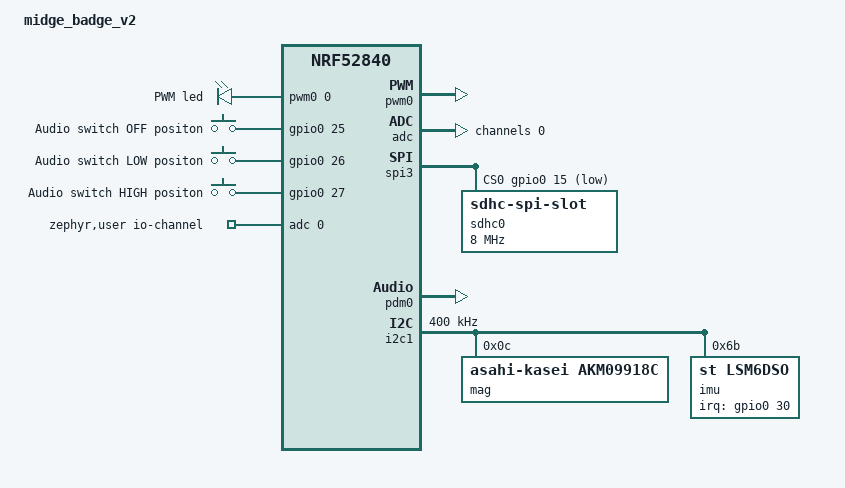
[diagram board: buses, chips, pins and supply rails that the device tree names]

/dts-v1/;
#include <nordic/nrf52840_qfaa.dtsi>
#include "midge_badge_v2-pinctrl.dtsi"
#include <zephyr/dt-bindings/input/input-event-codes.h>
#include <zephyr/dt-bindings/sensor/lsm6dso.h>
/**
 * LED_IND PO.03 pin 19
 * SCL     PO.02 pin 15
 * SDA     PO.00 pin 13
 * INT1    PO.30 pin 11
 * CD      PO.09 pin 25
 * SW      PO.11 pin 27
 * CS      PO.15 pin 25
 * MOSI    PO.16 pin 34
 * CLK     PO.17 pin 35
 * MISO    PO.18 pin 38
 * BATSEN  PO.05 pin 21
 * MICDOUT PO.13 pin 31
 * MICCLK  PO.14 pin 32
 * SW2OFF  PO.25 pin 6
 * SW2LOW  PO.26 pin 7
 * SW2HIGH PO.27 pin 8
 */


/ {
	model = "midge_badge_v2";
	compatible = "others,midge-badge-v2";

	chosen {
		/*zephyr,console = &uart0;
		zephyr,shell-uart = &uart0;
		zephyr,uart-mcumgr = &uart0;
		zephyr,bt-mon-uart = &uart0;
		zephyr,bt-c2h-uart = &uart0;*/
		zephyr,sram = &sram0;
		zephyr,flash = &flash0;
		zephyr,code-partition = &slot0_partition;
	};

	/*leds {
		compatible = "gpio-leds";

		led0: led_0 {
			gpios = <&gpio0 3 GPIO_ACTIVE_HIGH>;
			label = "Status led";
		};
	};*/

	pwm_leds {
		compatible = "pwm-leds";

		led0: led_0 {
			pwms = <&pwm0 0 PWM_MSEC(20) PWM_POLARITY_INVERTED>;
			label = "PWM led";
		};
	};

	switch_pos {
		compatible= "gpio-keys";

		sw_audio_off: sw_0{
			gpios = <&gpio0 25 (GPIO_PULL_DOWN | GPIO_ACTIVE_HIGH)>;
			label = "Audio switch OFF positon";
		};
		sw_audio_low: sw_1{
			gpios = <&gpio0 26 (GPIO_PULL_DOWN | GPIO_ACTIVE_HIGH)>;
			label = "Audio switch LOW positon";
		};
		sw_audio_high: sw_2{
			gpios = <&gpio0 27 (GPIO_PULL_DOWN | GPIO_ACTIVE_HIGH)>;
			label = "Audio switch HIGH positon";
		};
	};

	zephyr,user {
		io-channels=<&adc 0>;
	};

	/* These aliases are provided for compatibility with samples */
	aliases {
		led0 = &led0;
		sw-audio-off = &sw_audio_off;
		sw-audio-low = &sw_audio_low;
		sw-audio-high = &sw_audio_high;
		mcuboot-led0 = &led0;
		mic-params = &audio_mic;
		imu-dev = &imu;
		mag-dev = &mag;
	};

	audio_mic: microphone {
		compatible = "generic,pdm-mic";
		min-pdm-clk-freq = <1000000>;
		max-pdm-clk-freq = <3250000>;
		min-pdm-clk-dc = <40>;
		max-pdm-clk-dc = <60>;
	};
};

&pwm0 {
	status = "okay";
	pinctrl-0 = <&pwm0_default>;
	pinctrl-names = "default";
};

/*&reg {
	regulator-initial-mode = <NRF5X_REG_MODE_DCDC>;
};


&uicr {
	gpio-as-nreset;
};


&nfct {
	status = "okay";
};*/

&adc {
	#address-cells = <1>;
	#size-cells = <0>;
	status = "okay";
	channel@0 {
		reg = <0>;
		zephyr,gain = "ADC_GAIN_1_4";
		zephyr,reference = "ADC_REF_INTERNAL"; /* 600mV */
		zephyr,acquisition-time = <ADC_ACQ_TIME_DEFAULT>; /* 10us */
		zephyr,input-positive = <NRF_SAADC_AIN3>; /*PO.05*/
		zephyr,resolution = <12>;
	};
};


&gpiote {
	status = "okay";
};

&gpio0 {
	status = "okay";
};

&spi3 {
	compatible = "nordic,nrf-spim";
	status = "okay";
	pinctrl-names = "default", "sleep";
	pinctrl-0 = <&spi1_default>;
	pinctrl-1 = <&spi1_sleep>;
	cs-gpios = <&gpio0 15 GPIO_ACTIVE_LOW>;

	sdhc0: sdhc@0 {
		compatible = "zephyr,sdhc-spi-slot";
		reg = <0>;
		status = "okay";
		mmc {
			compatible = "zephyr,sdmmc-disk";
			disk-name = "SD";
			status = "okay";
		};
		spi-max-frequency = <8000000>;
	};
};

dmic_dev: &pdm0 {
	status = "okay";
	pinctrl-0 = <&pdm0_default_alt>;
	pinctrl-names = "default";
	clock-source = "PCLK32M_HFXO";
};

&i2c1 {
	compatible = "nordic,nrf-twim";
	status = "okay";
	pinctrl-0 = <&i2c0_default>;
	pinctrl-1 = <&i2c0_sleep>;
	pinctrl-names = "default", "sleep";
	clock-frequency = <400000>;
	zephyr,concat-buf-size = <255>;
	zephyr,flash-buf-max-size = <255>;

	mag: ak09918@c {
		compatible = "asahi-kasei,akm09918c";
		reg = <0x0c>;
		status = "okay";
	};

	imu: lsm6dso@6b {
		compatible = "st,lsm6dso";
		reg = <0x6b>;
		status = "okay";
		irq-gpios = <&gpio0 30 (GPIO_ACTIVE_HIGH | GPIO_PULL_DOWN)>;
		/*int-pin = <1>;*/
		accel-range = <LSM6DSO_DT_FS_4G>;
		accel-odr = <LSM6DSO_DT_ODR_52Hz>;
		/*accel-pm = <LSM6DSO_DT_XL_LP_NORMAL_MODE>;*/
		/*gyro-pm = <LSM6DSO_DT_GY_NORMAL_MODE>;*/
		gyro-range = <LSM6DSO_DT_FS_1000DPS>;
		gyro-odr = <LSM6DSO_DT_ODR_52Hz>;
	};
};

&flash0 {

	partitions {
		compatible = "fixed-partitions";
		#address-cells = <1>;
		#size-cells = <1>;

		boot_partition: partition@0 {
			label = "mcuboot";
			reg = <0x00000000 0xc000>;
		};
		slot0_partition: partition@c000 {
			label = "image-0";
			reg = <0x0000C000 0x32000>;
		};
		slot1_partition: partition@3e000 {
			label = "image-1";
			reg = <0x0003E000 0x32000>;
		};
		scratch_partition: partition@70000 {
			label = "image-scratch";
			reg = <0x00070000 0xa000>;
		};
		storage_partition: partition@7a000 {
			label = "storage";
			reg = <0x0007a000 0x00006000>;
		};
	};
};
